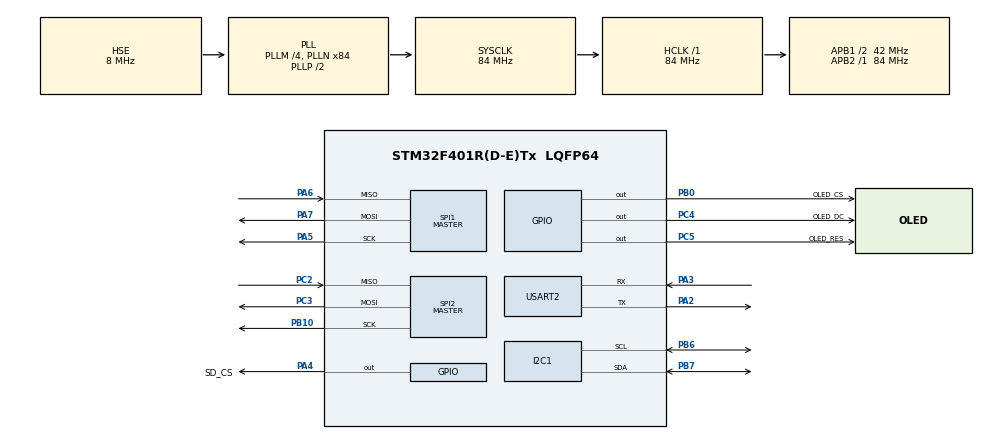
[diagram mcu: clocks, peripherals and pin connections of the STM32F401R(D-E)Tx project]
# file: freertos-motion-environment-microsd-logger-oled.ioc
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Dma.I2C1_RX.2.Direction=DMA_PERIPH_TO_MEMORY
Dma.I2C1_RX.2.FIFOMode=DMA_FIFOMODE_DISABLE
Dma.I2C1_RX.2.Instance=DMA1_Stream0
Dma.I2C1_RX.2.MemDataAlignment=DMA_MDATAALIGN_BYTE
Dma.I2C1_RX.2.MemInc=DMA_MINC_ENABLE
Dma.I2C1_RX.2.Mode=DMA_NORMAL
Dma.I2C1_RX.2.PeriphDataAlignment=DMA_PDATAALIGN_BYTE
Dma.I2C1_RX.2.PeriphInc=DMA_PINC_DISABLE
Dma.I2C1_RX.2.Priority=DMA_PRIORITY_LOW
Dma.I2C1_TX.3.Direction=DMA_MEMORY_TO_PERIPH
Dma.I2C1_TX.3.FIFOMode=DMA_FIFOMODE_DISABLE
Dma.I2C1_TX.3.Instance=DMA1_Stream7
Dma.I2C1_TX.3.MemDataAlignment=DMA_MDATAALIGN_BYTE
Dma.I2C1_TX.3.MemInc=DMA_MINC_ENABLE
Dma.I2C1_TX.3.Mode=DMA_NORMAL
Dma.I2C1_TX.3.PeriphDataAlignment=DMA_PDATAALIGN_BYTE
Dma.I2C1_TX.3.PeriphInc=DMA_PINC_DISABLE
Dma.I2C1_TX.3.Priority=DMA_PRIORITY_LOW
Dma.Request0=USART2_RX
Dma.Request1=USART2_TX
Dma.Request2=I2C1_RX
Dma.Request3=I2C1_TX
Dma.USART2_RX.0.Direction=DMA_PERIPH_TO_MEMORY
Dma.USART2_RX.0.FIFOMode=DMA_FIFOMODE_DISABLE
Dma.USART2_RX.0.Instance=DMA1_Stream5
Dma.USART2_RX.0.MemDataAlignment=DMA_MDATAALIGN_BYTE
Dma.USART2_RX.0.MemInc=DMA_MINC_ENABLE
Dma.USART2_RX.0.Mode=DMA_CIRCULAR
Dma.USART2_RX.0.PeriphDataAlignment=DMA_PDATAALIGN_BYTE
Dma.USART2_RX.0.PeriphInc=DMA_PINC_DISABLE
Dma.USART2_RX.0.Priority=DMA_PRIORITY_LOW
Dma.USART2_TX.1.Direction=DMA_MEMORY_TO_PERIPH
Dma.USART2_TX.1.FIFOMode=DMA_FIFOMODE_DISABLE
Dma.USART2_TX.1.Instance=DMA1_Stream6
Dma.USART2_TX.1.MemDataAlignment=DMA_MDATAALIGN_BYTE
Dma.USART2_TX.1.MemInc=DMA_MINC_ENABLE
Dma.USART2_TX.1.Mode=DMA_NORMAL
Dma.USART2_TX.1.PeriphDataAlignment=DMA_PDATAALIGN_BYTE
Dma.USART2_TX.1.PeriphInc=DMA_PINC_DISABLE
Dma.USART2_TX.1.Priority=DMA_PRIORITY_LOW
FREERTOS.Tasks01=defaultTask,24,128,StartDefaultTask,Default,NULL,Dynamic,NULL,NULL
FREERTOS.configUSE_NEWLIB_REENTRANT=1
Mcu.Family=STM32F4
Mcu.Name=STM32F401R(D-E)Tx
Mcu.Package=LQFP64
NVIC.DMA1_Stream0_IRQn=true\:5\:0\:false\:false\:true\:true\:false\:true\:true
NVIC.DMA1_Stream5_IRQn=true\:5\:0\:false\:false\:true\:true\:false\:true\:true
NVIC.DMA1_Stream6_IRQn=true\:5\:0\:false\:false\:true\:true\:false\:true\:true
NVIC.DMA1_Stream7_IRQn=true\:5\:0\:false\:false\:true\:true\:false\:true\:true
NVIC.I2C1_ER_IRQn=true\:5\:0\:false\:false\:true\:true\:true\:true\:true
NVIC.I2C1_EV_IRQn=true\:5\:0\:false\:false\:true\:true\:true\:true\:true
NVIC.PriorityGroup=NVIC_PRIORITYGROUP_4
NVIC.TIM1_TRG_COM_TIM11_IRQn=true\:15\:0\:false\:false\:true\:false\:false\:true\:true
NVIC.TimeBase=TIM1_TRG_COM_TIM11_IRQn
NVIC.TimeBaseIP=TIM11
NVIC.USART2_IRQn=true\:5\:0\:false\:false\:true\:true\:false\:true\:true
PA2.Mode=Asynchronous
PA2.Signal=USART2_TX
PA3.Mode=Asynchronous
PA3.Signal=USART2_RX
PA4.GPIO_Label=SD_CS
PA4.Signal=GPIO_Output
PA5.Mode=Full_Duplex_Master
PA5.Signal=SPI1_SCK
PA6.Mode=Full_Duplex_Master
PA6.Signal=SPI1_MISO
PA7.Mode=Full_Duplex_Master
PA7.Signal=SPI1_MOSI
PB0.GPIO_Label=OLED_CS
PB0.Signal=GPIO_Output
PB10.Mode=Full_Duplex_Master
PB10.Signal=SPI2_SCK
PB6.Mode=I2C
PB6.Signal=I2C1_SCL
PB7.Mode=I2C
PB7.Signal=I2C1_SDA
PC2.Mode=Full_Duplex_Master
PC2.Signal=SPI2_MISO
PC3.Mode=Full_Duplex_Master
PC3.Signal=SPI2_MOSI
PC4.GPIO_Label=OLED_DC
PC4.Signal=GPIO_Output
PC5.GPIO_Label=OLED_RES
PC5.Signal=GPIO_Output
PH0\ -\ OSC_IN.Mode=HSE-External-Oscillator
PH0\ -\ OSC_IN.Signal=RCC_OSC_IN
PH1\ -\ OSC_OUT.Mode=HSE-External-Oscillator
PH1\ -\ OSC_OUT.Signal=RCC_OSC_OUT
ProjectManager.HeapSize=0x200
ProjectManager.StackSize=0x400
ProjectManager.TargetToolchain=STM32CubeIDE
RCC.48MHZClocksFreq_Value=42000000
RCC.AHBFreq_Value=84000000
RCC.APB1CLKDivider=RCC_HCLK_DIV2
RCC.APB1Freq_Value=42000000
RCC.APB1TimFreq_Value=84000000
RCC.APB2Freq_Value=84000000
RCC.APB2TimFreq_Value=84000000
RCC.CortexFreq_Value=84000000
RCC.HCLKFreq_Value=84000000
RCC.HSE_VALUE=8000000
RCC.HSI_VALUE=16000000
RCC.LSE_VALUE=32768
RCC.PLLM=4
RCC.PLLN=84
RCC.PLLSourceVirtual=RCC_PLLSOURCE_HSE
RCC.SYSCLKFreq_VALUE=84000000
RCC.SYSCLKSource=RCC_SYSCLKSOURCE_PLLCLK
RCC.VCOOutputFreq_Value=168000000
SPI1.BaudRatePrescaler=SPI_BAUDRATEPRESCALER_256
SPI1.Direction=SPI_DIRECTION_2LINES
SPI1.Mode=SPI_MODE_MASTER
SPI1.VirtualType=VM_MASTER
SPI2.Direction=SPI_DIRECTION_2LINES
SPI2.Mode=SPI_MODE_MASTER
SPI2.VirtualType=VM_MASTER
TIM2.AutoReloadPreload=TIM_AUTORELOAD_PRELOAD_DISABLE
TIM2.Prescaler=839
USART2.VirtualMode=VM_ASYNC
VP_FATFS_VS_Generic.Mode=User_defined
VP_FREERTOS_VS_CMSIS_V2.Mode=CMSIS_V2
VP_SYS_VS_tim11.Mode=TIM11
VP_TIM2_VS_ClockSourceINT.Mode=Internal
board=custom

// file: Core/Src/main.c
/* USER CODE BEGIN Header */
/**
  ******************************************************************************
  * @file           : main.c
  * @brief          : Main program body
  ******************************************************************************
  * @attention
  *
  * Copyright (c) 2026 STMicroelectronics.
  * All rights reserved.
  *
  * This software is licensed under terms that can be found in the LICENSE file
  * in the root directory of this software component.
  * If no LICENSE file comes with this software, it is provided AS-IS.
  *
  ******************************************************************************
  */
/* USER CODE END Header */
#include "main.h"
#include "cmsis_os.h"
#include "fatfs.h"

/* USER CODE BEGIN Includes */
#include "freertos-app.h"
#include "mpu6050.h"
#include "oled.h"
/* USER CODE END Includes */

I2C_HandleTypeDef hi2c1;
DMA_HandleTypeDef hdma_i2c1_rx;
DMA_HandleTypeDef hdma_i2c1_tx;

SPI_HandleTypeDef hspi1;
SPI_HandleTypeDef hspi2;

TIM_HandleTypeDef htim2;

UART_HandleTypeDef huart2;
DMA_HandleTypeDef hdma_usart2_rx;
DMA_HandleTypeDef hdma_usart2_tx;

void SystemClock_Config(void);
static void MX_GPIO_Init(void);
static void MX_DMA_Init(void);
static void MX_I2C1_Init(void);
static void MX_SPI1_Init(void);
static void MX_TIM2_Init(void);
static void MX_USART2_UART_Init(void);
static void MX_SPI2_Init(void);
void StartDefaultTask(void *argument);

int main(void)
{

  /* MCU Configuration--------------------------------------------------------*/

  /* Reset of all peripherals, Initializes the Flash interface and the Systick. */
  HAL_Init();

  /* Configure the system clock */
  SystemClock_Config();

  /* Initialize all configured peripherals */
  MX_GPIO_Init();
  MX_DMA_Init();
  MX_I2C1_Init();
  MX_SPI1_Init();
  MX_TIM2_Init();
  MX_USART2_UART_Init();
  MX_FATFS_Init();
  MX_SPI2_Init();
  /* USER CODE BEGIN 2 */
  FreeRTOS_Init();
  /* USER CODE END 2 */

  /* USER CODE BEGIN RTOS_THREADS */
  TaskHandle_t default_task_handle = NULL;
  xTaskCreate(
      StartDefaultTask,
      "default_task",
      128,                    /* Stack depth in words */
      NULL,
      tskIDLE_PRIORITY + 1,
      &default_task_handle
  );

  /* Start scheduler */

  /* USER CODE END RTOS_THREADS */

  /* USER CODE BEGIN RTOS_EVENTS */
  /* add events, ... */
  /* Start scheduler */
  vTaskStartScheduler();
  /* USER CODE END RTOS_EVENTS */

  /* Infinite loop */
  while (1)
  {

  }
}

void SystemClock_Config(void)
{
  RCC_OscInitTypeDef RCC_OscInitStruct = {0};
  RCC_ClkInitTypeDef RCC_ClkInitStruct = {0};

  /** Configure the main internal regulator output voltage
  */
  __HAL_RCC_PWR_CLK_ENABLE();
  __HAL_PWR_VOLTAGESCALING_CONFIG(PWR_REGULATOR_VOLTAGE_SCALE2);

  /** Initializes the RCC Oscillators according to the specified parameters
  * in the RCC_OscInitTypeDef structure.
  */
  RCC_OscInitStruct.OscillatorType = RCC_OSCILLATORTYPE_HSE;
  RCC_OscInitStruct.HSEState = RCC_HSE_ON;
  RCC_OscInitStruct.PLL.PLLState = RCC_PLL_ON;
  RCC_OscInitStruct.PLL.PLLSource = RCC_PLLSOURCE_HSE;
  RCC_OscInitStruct.PLL.PLLM = 4;
  RCC_OscInitStruct.PLL.PLLN = 84;
  RCC_OscInitStruct.PLL.PLLP = RCC_PLLP_DIV2;
  RCC_OscInitStruct.PLL.PLLQ = 4;
  if (HAL_RCC_OscConfig(&RCC_OscInitStruct) != HAL_OK)
  {
    Error_Handler();
  }

  /** Initializes the CPU, AHB and APB buses clocks
  */
  RCC_ClkInitStruct.ClockType = RCC_CLOCKTYPE_HCLK|RCC_CLOCKTYPE_SYSCLK
                              |RCC_CLOCKTYPE_PCLK1|RCC_CLOCKTYPE_PCLK2;
  RCC_ClkInitStruct.SYSCLKSource = RCC_SYSCLKSOURCE_PLLCLK;
  RCC_ClkInitStruct.AHBCLKDivider = RCC_SYSCLK_DIV1;
  RCC_ClkInitStruct.APB1CLKDivider = RCC_HCLK_DIV2;
  RCC_ClkInitStruct.APB2CLKDivider = RCC_HCLK_DIV1;

  if (HAL_RCC_ClockConfig(&RCC_ClkInitStruct, FLASH_LATENCY_2) != HAL_OK)
  {
    Error_Handler();
  }
}

static void MX_I2C1_Init(void)
{

  hi2c1.Instance = I2C1;
  hi2c1.Init.ClockSpeed = 100000;
  hi2c1.Init.DutyCycle = I2C_DUTYCYCLE_2;
  hi2c1.Init.OwnAddress1 = 0;
  hi2c1.Init.AddressingMode = I2C_ADDRESSINGMODE_7BIT;
  hi2c1.Init.DualAddressMode = I2C_DUALADDRESS_DISABLE;
  hi2c1.Init.OwnAddress2 = 0;
  hi2c1.Init.GeneralCallMode = I2C_GENERALCALL_DISABLE;
  hi2c1.Init.NoStretchMode = I2C_NOSTRETCH_DISABLE;
  if (HAL_I2C_Init(&hi2c1) != HAL_OK)
  {
    Error_Handler();
  }

}

static void MX_SPI1_Init(void)
{

  /* SPI1 parameter configuration*/
  hspi1.Instance = SPI1;
  hspi1.Init.Mode = SPI_MODE_MASTER;
  hspi1.Init.Direction = SPI_DIRECTION_2LINES;
  hspi1.Init.DataSize = SPI_DATASIZE_8BIT;
  hspi1.Init.CLKPolarity = SPI_POLARITY_LOW;
  hspi1.Init.CLKPhase = SPI_PHASE_1EDGE;
  hspi1.Init.NSS = SPI_NSS_SOFT;
  hspi1.Init.BaudRatePrescaler = SPI_BAUDRATEPRESCALER_256;
  hspi1.Init.FirstBit = SPI_FIRSTBIT_MSB;
  hspi1.Init.TIMode = SPI_TIMODE_DISABLE;
  hspi1.Init.CRCCalculation = SPI_CRCCALCULATION_DISABLE;
  hspi1.Init.CRCPolynomial = 10;
  if (HAL_SPI_Init(&hspi1) != HAL_OK)
  {
    Error_Handler();
  }

}

static void MX_SPI2_Init(void)
{

  /* SPI2 parameter configuration*/
  hspi2.Instance = SPI2;
  hspi2.Init.Mode = SPI_MODE_MASTER;
  hspi2.Init.Direction = SPI_DIRECTION_2LINES;
  hspi2.Init.DataSize = SPI_DATASIZE_8BIT;
  hspi2.Init.CLKPolarity = SPI_POLARITY_LOW;
  hspi2.Init.CLKPhase = SPI_PHASE_1EDGE;
  hspi2.Init.NSS = SPI_NSS_SOFT;
  hspi2.Init.BaudRatePrescaler = SPI_BAUDRATEPRESCALER_16;
  hspi2.Init.FirstBit = SPI_FIRSTBIT_MSB;
  hspi2.Init.TIMode = SPI_TIMODE_DISABLE;
  hspi2.Init.CRCCalculation = SPI_CRCCALCULATION_DISABLE;
  hspi2.Init.CRCPolynomial = 10;
  if (HAL_SPI_Init(&hspi2) != HAL_OK)
  {
    Error_Handler();
  }

}

static void MX_TIM2_Init(void)
{

  TIM_ClockConfigTypeDef sClockSourceConfig = {0};
  TIM_MasterConfigTypeDef sMasterConfig = {0};

  htim2.Instance = TIM2;
  htim2.Init.Prescaler = 839;
  htim2.Init.CounterMode = TIM_COUNTERMODE_UP;
  htim2.Init.Period = 4294967295;
  htim2.Init.ClockDivision = TIM_CLOCKDIVISION_DIV1;
  htim2.Init.AutoReloadPreload = TIM_AUTORELOAD_PRELOAD_DISABLE;
  if (HAL_TIM_Base_Init(&htim2) != HAL_OK)
  {
    Error_Handler();
  }
  sClockSourceConfig.ClockSource = TIM_CLOCKSOURCE_INTERNAL;
  if (HAL_TIM_ConfigClockSource(&htim2, &sClockSourceConfig) != HAL_OK)
  {
    Error_Handler();
  }
  sMasterConfig.MasterOutputTrigger = TIM_TRGO_RESET;
  sMasterConfig.MasterSlaveMode = TIM_MASTERSLAVEMODE_DISABLE;
  if (HAL_TIMEx_MasterConfigSynchronization(&htim2, &sMasterConfig) != HAL_OK)
  {
    Error_Handler();
  }

}

static void MX_USART2_UART_Init(void)
{

  huart2.Instance = USART2;
  huart2.Init.BaudRate = 115200;
  huart2.Init.WordLength = UART_WORDLENGTH_8B;
  huart2.Init.StopBits = UART_STOPBITS_1;
  huart2.Init.Parity = UART_PARITY_NONE;
  huart2.Init.Mode = UART_MODE_TX_RX;
  huart2.Init.HwFlowCtl = UART_HWCONTROL_NONE;
  huart2.Init.OverSampling = UART_OVERSAMPLING_16;
  if (HAL_UART_Init(&huart2) != HAL_OK)
  {
    Error_Handler();
  }

}

static void MX_DMA_Init(void)
{

  /* DMA controller clock enable */
  __HAL_RCC_DMA1_CLK_ENABLE();

  /* DMA interrupt init */
  /* DMA1_Stream0_IRQn interrupt configuration */
  HAL_NVIC_SetPriority(DMA1_Stream0_IRQn, 5, 0);
  HAL_NVIC_EnableIRQ(DMA1_Stream0_IRQn);
  /* DMA1_Stream5_IRQn interrupt configuration */
  HAL_NVIC_SetPriority(DMA1_Stream5_IRQn, 5, 0);
  HAL_NVIC_EnableIRQ(DMA1_Stream5_IRQn);
  /* DMA1_Stream6_IRQn interrupt configuration */
  HAL_NVIC_SetPriority(DMA1_Stream6_IRQn, 5, 0);
  HAL_NVIC_EnableIRQ(DMA1_Stream6_IRQn);
  /* DMA1_Stream7_IRQn interrupt configuration */
  HAL_NVIC_SetPriority(DMA1_Stream7_IRQn, 5, 0);
  HAL_NVIC_EnableIRQ(DMA1_Stream7_IRQn);

}

static void MX_GPIO_Init(void)
{
  GPIO_InitTypeDef GPIO_InitStruct = {0};

  /* GPIO Ports Clock Enable */
  __HAL_RCC_GPIOH_CLK_ENABLE();
  __HAL_RCC_GPIOC_CLK_ENABLE();
  __HAL_RCC_GPIOA_CLK_ENABLE();
  __HAL_RCC_GPIOB_CLK_ENABLE();

  /*Configure GPIO pin Output Level */
  HAL_GPIO_WritePin(SD_CS_GPIO_Port, SD_CS_Pin, GPIO_PIN_RESET);

  /*Configure GPIO pin Output Level */
  HAL_GPIO_WritePin(GPIOC, OLED_DC_Pin|OLED_RES_Pin, GPIO_PIN_RESET);

  /*Configure GPIO pin Output Level */
  HAL_GPIO_WritePin(OLED_CS_GPIO_Port, OLED_CS_Pin, GPIO_PIN_RESET);

  /*Configure GPIO pin : SD_CS_Pin */
  GPIO_InitStruct.Pin = SD_CS_Pin;
  GPIO_InitStruct.Mode = GPIO_MODE_OUTPUT_PP;
  GPIO_InitStruct.Pull = GPIO_NOPULL;
  GPIO_InitStruct.Speed = GPIO_SPEED_FREQ_LOW;
  HAL_GPIO_Init(SD_CS_GPIO_Port, &GPIO_InitStruct);

  /*Configure GPIO pins : OLED_DC_Pin OLED_RES_Pin */
  GPIO_InitStruct.Pin = OLED_DC_Pin|OLED_RES_Pin;
  GPIO_InitStruct.Mode = GPIO_MODE_OUTPUT_PP;
  GPIO_InitStruct.Pull = GPIO_NOPULL;
  GPIO_InitStruct.Speed = GPIO_SPEED_FREQ_LOW;
  HAL_GPIO_Init(GPIOC, &GPIO_InitStruct);

  /*Configure GPIO pin : OLED_CS_Pin */
  GPIO_InitStruct.Pin = OLED_CS_Pin;
  GPIO_InitStruct.Mode = GPIO_MODE_OUTPUT_PP;
  GPIO_InitStruct.Pull = GPIO_NOPULL;
  GPIO_InitStruct.Speed = GPIO_SPEED_FREQ_LOW;
  HAL_GPIO_Init(OLED_CS_GPIO_Port, &GPIO_InitStruct);

}

void StartDefaultTask(void *argument)
{
  for(;;)
  {
    osDelay(1);
  }
}

void HAL_TIM_PeriodElapsedCallback(TIM_HandleTypeDef *htim)
{
  if (htim->Instance == TIM11)
  {
    HAL_IncTick();
  }
}

void Error_Handler(void)
{
  __disable_irq();
  while (1)
  {
  }
}

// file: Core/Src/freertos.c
/* USER CODE BEGIN Header */
/**
  ******************************************************************************
  * @file      freertos.c
  * @brief     FreeRTOS application setup.
  * @author    Omar Ahmed (project integration)
  * @details   Creates tasks, queues, mutexes, and the I2C completion semaphore
  *            for sensor sampling, OLED updates, SD access, and the UART shell.
  ******************************************************************************
  * @attention
  *
  * Copyright (c) 2026 STMicroelectronics.
  * All rights reserved.
  *
  * This software is licensed under terms that can be found in the LICENSE file
  * in the root directory of this software component.
  * If no LICENSE file comes with this software, it is provided AS-IS.
  *
  ******************************************************************************
  */
/* USER CODE END Header */

/* USER CODE BEGIN Includes */
#include "main.h"
#include "freertos-app.h"
#include "mpu6050.h"
#include "sd.h"
#include "main.h"
#include "shell.h"
#include "oled.h"
/* USER CODE END Includes */

/* USER CODE BEGIN Variables */
TaskHandle_t shell_read_task_handle;
TaskHandle_t shell_print_task_handle;
TaskHandle_t mpu6050_sample_task_handle;
TaskHandle_t bme280_sample_task_handle;
TaskHandle_t sd_sensor_log_task_handle;
TaskHandle_t sd_file_read_task_handle;
TaskHandle_t oled_display_task_handle;

QueueHandle_t shell_print_queue_handle;
QueueHandle_t sd_log_queue_handle;
QueueHandle_t sd_read_queue_handle;
QueueHandle_t oled_queue_handle;

SemaphoreHandle_t i2c_mutex_handle;
SemaphoreHandle_t sd_mutex_handle;
SemaphoreHandle_t i2c_rx_done_semaphore_handle;
SemaphoreHandle_t shell_print_mutex_handle;

/* USER CODE END Variables */

/* USER CODE BEGIN FunctionPrototypes */
extern void bme280_sample_task(void *arg);
/* USER CODE END FunctionPrototypes */

/* USER CODE BEGIN Application */
void FreeRTOS_Init(void){

	shell_print_queue_handle = xQueueCreate(4, sizeof(shell_print_msg_t));
	sd_log_queue_handle = xQueueCreate(6, sizeof(sensor_sd_log_t));
	sd_read_queue_handle =  xQueueCreate(2, sizeof(sensor_type_t));
	oled_queue_handle = xQueueCreate(6, sizeof(oled_sensor_msg_t));

	i2c_mutex_handle = xSemaphoreCreateMutex(); // Shared between the two sensors sampling
	sd_mutex_handle = xSemaphoreCreateMutex();	// Shared between the sd write and read tasks
	i2c_rx_done_semaphore_handle = xSemaphoreCreateBinary();	// Prevents sampling to be preemted before finishing along with th ISR
	shell_print_mutex_handle = xSemaphoreCreateMutex();		// Shared between the shell_printf and the file print using DMA

	xTaskCreate(
			shell_read_task,
			"shell_read_task",
			512,
			NULL,
			2,
			&shell_read_task_handle);

	xTaskCreate(
			shell_print_task,
			"shell_print_task",
			512,
			NULL,
			2,
			&shell_print_task_handle);

	xTaskCreate(
			mpu6050_sample_task,
			"mpu6050_sample_task",
			512,
			NULL,
			1,
			&mpu6050_sample_task_handle);

	xTaskCreate(
			bme280_sample_task,
			"bme280_sample_task",
			512,
			NULL,
			1,
			&bme280_sample_task_handle);

	xTaskCreate(
			sd_sensor_log_task,
			"sd_sensor_log_task",
			512,
			NULL,
			3,
			&sd_sensor_log_task_handle);

	xTaskCreate(
			sd_file_read_task,
			"sd_file_read_task",
			512,
			NULL,
			3,
			&sd_file_read_task_handle);

	xTaskCreate(
			oled_display_task,
			"oled_display_task",
			512,
			NULL,
			1,
			&oled_display_task_handle);

}
/* USER CODE END Application */
